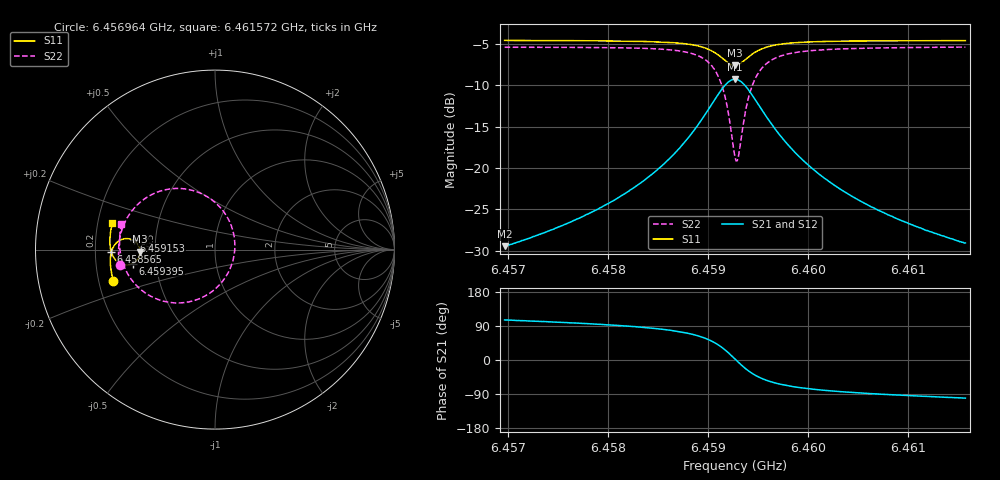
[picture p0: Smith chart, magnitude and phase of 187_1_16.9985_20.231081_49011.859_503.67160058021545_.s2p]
#  HZ  S  RI  R  50.00
! Rohde & Schwarz Vector Network Analyzer
! Rohde-Schwarz,ZNB20-2Port,1311601062101988,3.16
! Created: UTC 3/20/2024, 11:00:23 PM
! freq[Hz]  re:S11  im:S11  re:S21  im:S21  re:S12  im:S12  re:S22  im:S22
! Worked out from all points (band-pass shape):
!   401 points, 6.456964 GHz to 6.461572 GHz, reference 50 ohm
!   highest |S21| = -9.24 dB at 6.459268 GHz (marker M1); lowest = -29.5 dB at 6.456964 GHz (marker M2)
!   |S21| within 3 dB of the highest: 6.459037 GHz to 6.459498 GHz (461.1 kHz wide, 0.00714 % of centre)
!   lowest |S11| = -7.6 dB at 6.459268 GHz (marker M3), VSWR 2.44, Z = 20.5 - j0.598 ohm
!   |S11| at or under -10 dB: nowhere
!   |S22| runs from -19.1 to -5.4 dB; largest |S21 - S12| = 0.013
!   S11 on the Smith chart (normalised r, x): 6.456964 GHz: 0.26, -0.14; 6.458565 GHz: 0.27, -0.01; 6.459153 GHz: 0.37, +0.05; 6.459395 GHz: 0.37, -0.07; 6.461572 GHz: 0.26, +0.12
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6.4569642e9  -0.5659 -0.1744  -0.00912 0.0324  -0.00735 0.0323  -0.5313 -0.0881
6.457736e9  -0.5802 -0.1071  -0.00601 0.0503  -0.00331 0.0497  -0.5372 0.00199
6.4581392e9  -0.5833 -0.0668  -0.000473 0.0685  0.00275 0.0671  -0.5304 0.0652
6.4585078e9  -0.5796 -0.023  0.0138 0.0987  0.0177 0.096  -0.5045 0.1473
6.4585654e9  -0.5778 -0.0152  0.0181 0.1057  0.0221 0.1025  -0.4964 0.1638
6.4587727e9  -0.5649 0.017  0.0455 0.1381  0.0496 0.1332  -0.4453 0.2367
6.4589225e9  -0.5423 0.0435  0.0905 0.1688  0.0939 0.1621  -0.3623 0.3016
6.4590607e9  -0.4985 0.0612  0.1776 0.1856  0.1786 0.1782  -0.2034 0.3408
6.4591528e9  -0.4538 0.0511  0.2675 0.1546  0.2678 0.1488  -0.0371 0.291
6.459222e9  -0.4248 0.019  0.3282 0.083  0.3302 0.0776  0.0784 0.1621
6.459268e9  -0.4179 -0.012  0.3447 0.0153  0.3483 0.00835  0.1106 0.0358
6.4592796e9  -0.4183 -0.0201  0.3445 -0.00249  0.3483 -0.0101  0.1104 0.00226
6.4593026e9  -0.4218 -0.0357  0.339 -0.0372  0.3429 -0.0461  0.0994 -0.0634
6.4593487e9  -0.4374 -0.0617  0.3107 -0.097  0.3129 -0.1087  0.0423 -0.1761
6.4593948e9  -0.4593 -0.078  0.269 -0.138  0.2679 -0.1511  -0.0422 -0.2508
6.4594869e9  -0.5026 -0.0849  0.1843 -0.1694  0.1784 -0.1808  -0.2099 -0.2975
6.4596367e9  -0.5465 -0.0646  0.0966 -0.1558  0.0884 -0.1621  -0.377 -0.2488
6.4597979e9  -0.5681 -0.037  0.0518 -0.1283  0.0443 -0.131  -0.4576 -0.1775
6.4600398e9  -0.5809 -0.00138  0.0226 -0.0969  0.0169 -0.0976  -0.5056 -0.0954
6.4603739e9  -0.5855 0.0383  0.00703 -0.0709  0.00273 -0.0705  -0.5272 -0.0187
6.4608116e9  -0.5838 0.0823  -0.00129 -0.0518  -0.00399 -0.051  -0.532 0.0515
6.4615719e9  -0.5718 0.1497  -0.00651 -0.0346  -0.00804 -0.0336  -0.5211 0.1413
